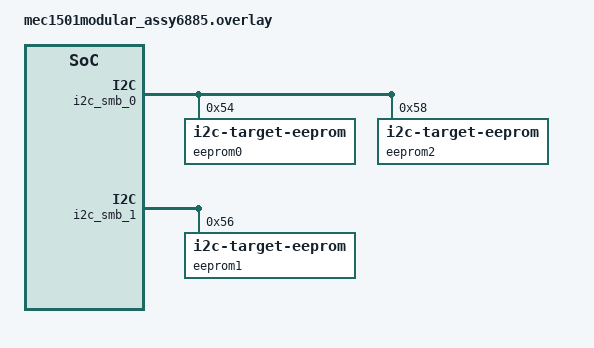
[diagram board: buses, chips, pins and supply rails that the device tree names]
/*
 * Copyright (c) 2020 Intel Corporation
 *
 * SPDX-License-Identifier: Apache-2.0
 */

&i2c_smb_0 {
	eeprom0: eeprom@54 {
		compatible = "zephyr,i2c-target-eeprom";
		reg = <0x54>;
		address-width = <16>;
		size = <1024>;
	};
	eeprom2: eeprom@58 {
		compatible = "zephyr,i2c-target-eeprom";
		reg = <0x58>;
		size = <4096>;
		address-width = <16>;
		read-only;
	};
};


&i2c_smb_1 {
	eeprom1: eeprom@56 {
		compatible = "zephyr,i2c-target-eeprom";
		reg = <0x56>;
		address-width = <16>;
		size = <1024>;
	};
};
